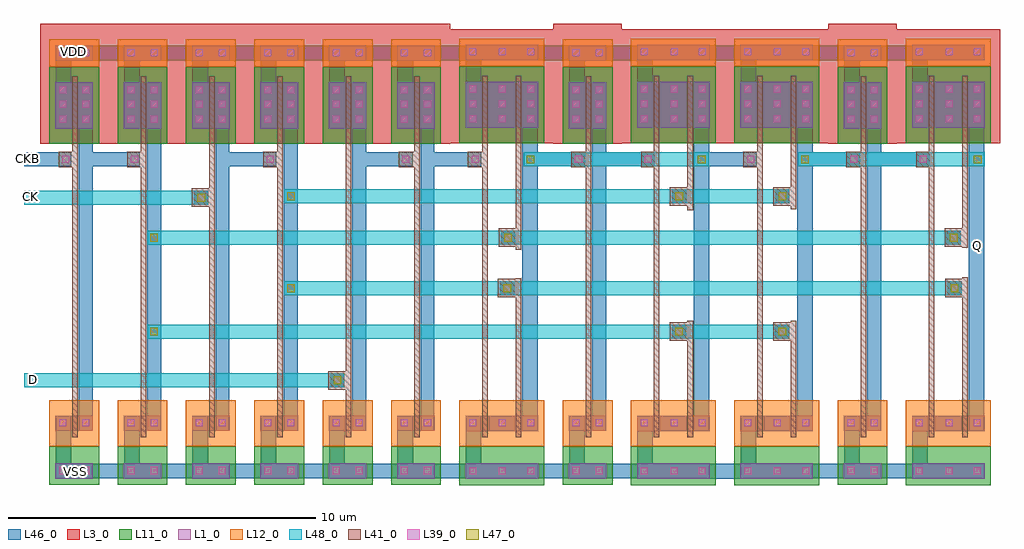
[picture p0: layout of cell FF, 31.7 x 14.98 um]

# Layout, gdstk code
import gdstk
lib = gdstk.Library(unit=1e-6, precision=1e-09)
def R(c, l, rs):  # rectangles x0, y0, x1, y1
    for r in rs: c.add(gdstk.rectangle(r[:2], r[2:], *l))
def A(c, l, x, y, w, h, nx, ny, dx, dy):  # array of equal rectangles
    R(c, l, [(x+i*dx, y+j*dy, x+i*dx+w, y+j*dy+h) for i in range(nx) for j in range(ny)])
L1_0 = (1, 0)
L3_0 = (3, 0)
L11_0 = (11, 0)
L12_0 = (12, 0)
L39_0 = (39, 0)
L41_0 = (41, 0)
L46_0 = (46, 0)
L47_0 = (47, 0)
L48_0 = (48, 0)

c_ff = lib.new_cell('FF')
A(c_ff, L1_0, 0.5, -0.98, 1.22, 0.5, 6, 2, 2.22, 1.55)
A(c_ff, L1_0, 0.5, 10.39, 1.22, 1.5, 6, 1, 2.22, 0)
A(c_ff, L1_0, 0.5, 12.59, 1.22, 0.5, 6, 1, 2.22, 0)
R(c_ff, L1_0, [(13.82,-0.99,16.175,-0.485), (19.395,-0.99,21.75,-0.485), (22.75,-0.99,25.105,-0.485), (28.325,-0.99,30.68,-0.485), (17.175,-0.98,18.395,-0.48), (26.105,-0.98,27.325,-0.48), (13.82,0.565,16.175,1.07), (19.395,0.565,21.75,1.07), (22.75,0.565,25.105,1.07), (28.325,0.565,30.68,1.07), (17.175,0.57,18.395,1.07), (26.105,0.57,27.325,1.07), (17.175,10.39,18.395,11.89), (26.105,10.39,27.325,11.89), (13.82,10.41,16.175,11.91), (19.395,10.41,21.75,11.91), (22.75,10.41,25.105,11.91), (28.325,10.41,30.68,11.91), (17.175,12.59,18.395,13.09), (26.105,12.59,27.325,13.09), (13.82,12.61,16.175,13.115), (19.395,12.61,21.75,13.115), (22.75,12.61,25.105,13.115), (28.325,12.61,30.68,13.115)])
A(c_ff, L3_0, 0, 9.89, 2.22, 3.9, 6, 1, 2.22, 0)
R(c_ff, L3_0, [(16.675,9.89,18.895,13.79), (25.605,9.89,27.825,13.79), (13.32,9.91,16.675,13.615), (18.895,9.91,22.25,13.615), (22.25,9.91,25.605,13.615), (27.825,9.91,31.18,13.615)])
A(c_ff, L11_0, 0.3, -1.18, 1.62, 1.25, 6, 1, 2.22, 0)
A(c_ff, L11_0, 0.3, 9.89, 1.62, 2.5, 6, 1, 2.22, 0)
R(c_ff, L11_0, [(13.62,-1.19,16.375,0.065), (19.195,-1.19,21.95,0.065), (22.55,-1.19,25.305,0.065), (28.125,-1.19,30.88,0.065), (16.975,-1.18,18.595,0.07), (25.905,-1.18,27.525,0.07), (16.975,9.89,18.595,12.39), (25.905,9.89,27.525,12.39), (13.62,9.91,16.375,12.41), (19.195,9.91,21.95,12.41), (22.55,9.91,25.305,12.41), (28.125,9.91,30.88,12.41)])
A(c_ff, L12_0, 0.3, 0.07, 1.62, 1.5, 6, 1, 2.22, 0)
A(c_ff, L12_0, 0.3, 12.39, 1.62, 0.9, 6, 1, 2.22, 0)
R(c_ff, L12_0, [(13.62,0.065,16.375,1.57), (19.195,0.065,21.95,1.57), (22.55,0.065,25.305,1.57), (28.125,0.065,30.88,1.57), (16.975,0.07,18.595,1.57), (25.905,0.07,27.525,1.57), (16.975,12.39,18.595,13.29), (25.905,12.39,27.525,13.29), (13.62,12.41,16.375,13.315), (19.195,12.41,21.95,13.315), (22.55,12.41,25.305,13.315), (28.125,12.41,30.88,13.315)])
A(c_ff, L39_0, 0.62, 10.58, 0.23, 0.23, 1, 3, 0, 0.48)
A(c_ff, L39_0, 1.37, 10.58, 0.23, 0.23, 1, 3, 0, 0.48)
A(c_ff, L39_0, 2.84, 10.58, 0.23, 0.23, 1, 3, 0, 0.48)
A(c_ff, L39_0, 3.59, 10.58, 0.23, 0.23, 1, 3, 0, 0.48)
A(c_ff, L39_0, 5.06, 10.58, 0.23, 0.23, 1, 3, 0, 0.48)
A(c_ff, L39_0, 5.81, 10.58, 0.23, 0.23, 1, 3, 0, 0.48)
A(c_ff, L39_0, 7.28, 10.58, 0.23, 0.23, 1, 3, 0, 0.48)
A(c_ff, L39_0, 8.03, 10.58, 0.23, 0.23, 1, 3, 0, 0.48)
A(c_ff, L39_0, 9.5, 10.58, 0.23, 0.23, 1, 3, 0, 0.48)
A(c_ff, L39_0, 10.25, 10.58, 0.23, 0.23, 1, 3, 0, 0.48)
A(c_ff, L39_0, 11.72, 10.58, 0.23, 0.23, 1, 3, 0, 0.48)
A(c_ff, L39_0, 12.47, 10.58, 0.23, 0.23, 1, 3, 0, 0.48)
A(c_ff, L39_0, 17.295, 10.58, 0.23, 0.23, 1, 3, 0, 0.48)
A(c_ff, L39_0, 18.045, 10.58, 0.23, 0.23, 1, 3, 0, 0.48)
A(c_ff, L39_0, 26.225, 10.58, 0.23, 0.23, 1, 3, 0, 0.48)
A(c_ff, L39_0, 26.975, 10.58, 0.23, 0.23, 1, 3, 0, 0.48)
A(c_ff, L39_0, 13.94, 10.6, 0.23, 0.23, 1, 3, 0, 0.48)
A(c_ff, L39_0, 14.905, 10.6, 0.23, 0.23, 1, 3, 0, 0.48)
A(c_ff, L39_0, 15.825, 10.6, 0.23, 0.23, 1, 3, 0, 0.48)
A(c_ff, L39_0, 19.515, 10.6, 0.23, 0.23, 1, 3, 0, 0.48)
A(c_ff, L39_0, 20.48, 10.6, 0.23, 0.23, 1, 3, 0, 0.48)
A(c_ff, L39_0, 21.4, 10.6, 0.23, 0.23, 1, 3, 0, 0.48)
A(c_ff, L39_0, 22.87, 10.6, 0.23, 0.23, 1, 3, 0, 0.48)
A(c_ff, L39_0, 23.835, 10.6, 0.23, 0.23, 1, 3, 0, 0.48)
A(c_ff, L39_0, 24.755, 10.6, 0.23, 0.23, 1, 3, 0, 0.48)
A(c_ff, L39_0, 28.445, 10.6, 0.23, 0.23, 1, 3, 0, 0.48)
A(c_ff, L39_0, 29.41, 10.6, 0.23, 0.23, 1, 3, 0, 0.48)
A(c_ff, L39_0, 30.33, 10.6, 0.23, 0.23, 1, 3, 0, 0.48)
R(c_ff, L39_0, [(13.94,-0.835,14.17,-0.605), (14.905,-0.835,15.135,-0.605), (15.825,-0.835,16.055,-0.605), (19.515,-0.835,19.745,-0.605), (20.48,-0.835,20.71,-0.605), (21.4,-0.835,21.63,-0.605), (22.87,-0.835,23.1,-0.605), (23.835,-0.835,24.065,-0.605), (24.755,-0.835,24.985,-0.605), (28.445,-0.835,28.675,-0.605), (29.41,-0.835,29.64,-0.605), (30.33,-0.835,30.56,-0.605), (0.62,-0.83,0.85,-0.6), (1.37,-0.83,1.6,-0.6), (2.84,-0.83,3.07,-0.6), (3.59,-0.83,3.82,-0.6), (5.06,-0.83,5.29,-0.6), (5.81,-0.83,6.04,-0.6), (7.28,-0.83,7.51,-0.6), (8.03,-0.83,8.26,-0.6), (9.5,-0.83,9.73,-0.6), (10.25,-0.83,10.48,-0.6), (11.72,-0.83,11.95,-0.6), (12.47,-0.83,12.7,-0.6), (17.295,-0.83,17.525,-0.6), (18.045,-0.83,18.275,-0.6), (26.225,-0.83,26.455,-0.6), (26.975,-0.83,27.205,-0.6), (0.62,0.72,0.85,0.95), (1.37,0.72,1.6,0.95), (2.84,0.72,3.07,0.95), (3.59,0.72,3.82,0.95), (5.06,0.72,5.29,0.95), (5.81,0.72,6.04,0.95), (7.28,0.72,7.51,0.95), (8.03,0.72,8.26,0.95), (9.5,0.72,9.73,0.95), (10.25,0.72,10.48,0.95), (11.72,0.72,11.95,0.95), (12.47,0.72,12.7,0.95), (13.94,0.72,14.17,0.95), (14.905,0.72,15.135,0.95), (15.825,0.72,16.055,0.95), (17.295,0.72,17.525,0.95), (18.045,0.72,18.275,0.95), (19.515,0.72,19.745,0.95), (20.48,0.72,20.71,0.95), (21.4,0.72,21.63,0.95), (22.87,0.72,23.1,0.95), (23.835,0.72,24.065,0.95), (24.755,0.72,24.985,0.95), (26.225,0.72,26.455,0.95), (26.975,0.72,27.205,0.95), (28.445,0.72,28.675,0.95), (29.41,0.72,29.64,0.95), (30.33,0.72,30.56,0.95), (9.545,2.1,9.775,2.33), (20.64,3.68,20.87,3.91), (23.995,3.68,24.225,3.91), (15.06,5.09,15.29,5.32), (29.59,5.09,29.82,5.32), (15.085,6.73,15.315,6.96), (29.565,6.73,29.795,6.96), (5.12,8.03,5.35,8.26), (20.645,8.075,20.875,8.305), (24,8.075,24.23,8.305), (0.725,9.28,0.955,9.51), (2.955,9.28,3.185,9.51), (7.365,9.28,7.595,9.51), (11.77,9.28,12,9.51), (14.02,9.28,14.25,9.51), (17.375,9.28,17.605,9.51), (19.64,9.28,19.87,9.51), (22.965,9.28,23.195,9.51), (26.31,9.28,26.54,9.51), (28.575,9.28,28.805,9.51), (0.62,12.74,0.85,12.97), (1.37,12.74,1.6,12.97), (2.84,12.74,3.07,12.97), (3.59,12.74,3.82,12.97), (5.06,12.74,5.29,12.97), (5.81,12.74,6.04,12.97), (7.28,12.74,7.51,12.97), (8.03,12.74,8.26,12.97), (9.5,12.74,9.73,12.97), (10.25,12.74,10.48,12.97), (11.72,12.74,11.95,12.97), (12.47,12.74,12.7,12.97), (17.295,12.74,17.525,12.97), (18.045,12.74,18.275,12.97), (26.225,12.74,26.455,12.97), (26.975,12.74,27.205,12.97), (13.94,12.765,14.17,12.995), (14.905,12.765,15.135,12.995), (15.825,12.765,16.055,12.995), (19.515,12.765,19.745,12.995), (20.48,12.765,20.71,12.995), (21.4,12.765,21.63,12.995), (22.87,12.765,23.1,12.995), (23.835,12.765,24.065,12.995), (24.755,12.765,24.985,12.995), (28.445,12.765,28.675,12.995), (29.41,12.765,29.64,12.995), (30.33,12.765,30.56,12.995)])
A(c_ff, L41_0, 1.05, 0.37, 0.18, 0.9, 6, 1, 2.22, 0)
A(c_ff, L41_0, 1.05, 10.19, 0.18, 1.9, 6, 1, 2.22, 0)
R(c_ff, L41_0, [(14.36,0.365,14.54,1.27), (15.455,0.365,15.635,1.27), (19.935,0.365,20.115,1.27), (21.03,0.365,21.21,1.27), (23.29,0.365,23.47,1.27), (24.385,0.365,24.565,1.27), (28.865,0.365,29.045,1.27), (29.96,0.365,30.14,1.27), (17.725,0.37,17.905,1.27), (26.655,0.37,26.835,1.27), (9.36,1.915,9.96,2.515), (20.455,3.495,21.055,4.095), (23.81,3.495,24.41,4.095), (14.875,4.905,15.475,5.505), (29.405,4.905,30.005,5.505), (14.9,6.545,15.5,7.145), (29.38,6.545,29.98,7.145), (4.935,7.845,5.535,8.445), (20.46,7.89,21.06,8.49), (23.815,7.89,24.415,8.49), (0.605,9.135,1.095,9.64), (2.835,9.135,3.325,9.64), (7.245,9.135,7.735,9.64), (11.65,9.135,12.205,9.64), (13.9,9.135,14.39,9.64), (17.255,9.135,17.745,9.64), (19.52,9.135,20.01,9.64), (22.845,9.135,23.335,9.64), (26.19,9.135,26.68,9.64), (28.455,9.135,28.945,9.64), (17.725,10.19,17.905,12.09), (26.655,10.19,26.835,12.09), (14.36,10.21,14.54,12.11), (15.455,10.21,15.635,12.11), (19.935,10.21,20.115,12.11), (21.03,10.21,21.21,12.11), (23.29,10.21,23.47,12.11), (24.385,10.21,24.565,12.11), (28.865,10.21,29.045,12.11), (29.96,10.21,30.14,12.11)])
A(c_ff, L46_0, 0.51, -0.97, 1.2, 0.48, 6, 2, 2.22, 13.57)
A(c_ff, L46_0, 0.51, 0.58, 0.51, 0.48, 6, 1, 2.22, 0)
A(c_ff, L46_0, 1.26, 0.58, 0.45, 0.48, 6, 1, 2.22, 0)
A(c_ff, L46_0, 0.51, 10.4, 0.51, 1.48, 6, 1, 2.22, 0)
A(c_ff, L46_0, 1.26, 10.4, 0.45, 1.48, 6, 1, 2.22, 0)
R(c_ff, L46_0, [(13.83,-0.98,16.165,-0.495), (19.405,-0.98,21.74,-0.495), (22.76,-0.98,25.095,-0.495), (28.335,-0.98,30.67,-0.495), (17.185,-0.97,18.385,-0.49), (26.115,-0.97,27.315,-0.49), (13.83,0.575,14.33,1.06), (14.57,0.575,15.425,1.06), (15.665,0.575,16.165,1.06), (19.405,0.575,19.905,1.06), (20.145,0.575,21,1.06), (21.24,0.575,21.74,1.06), (22.76,0.575,23.26,1.06), (23.5,0.575,24.355,1.06), (24.595,0.575,25.095,1.06), (28.335,0.575,28.835,1.06), (29.075,0.575,29.93,1.06), (30.17,0.575,30.67,1.06), (17.185,0.58,17.695,1.06), (17.935,0.58,18.385,1.06), (26.115,0.58,26.625,1.06), (26.865,0.58,27.315,1.06), (9.435,1.99,9.885,2.44), (20.53,3.57,20.98,4.02), (23.885,3.57,24.335,4.02), (14.95,4.98,15.4,5.43), (29.48,4.98,29.93,5.43), (14.975,6.62,15.425,7.07), (29.455,6.62,29.905,7.07), (5.01,7.92,5.46,8.37), (20.535,7.965,20.985,8.415), (23.89,7.965,24.34,8.415), (17.185,10.4,17.695,11.88), (17.935,10.4,18.385,11.88), (26.115,10.4,26.625,11.88), (26.865,10.4,27.315,11.88), (13.83,10.42,14.33,11.9), (14.57,10.42,15.425,11.9), (15.665,10.42,16.165,11.9), (19.405,10.42,19.905,11.9), (20.145,10.42,21,11.9), (21.24,10.42,21.74,11.9), (22.76,10.42,23.26,11.9), (23.5,10.42,24.355,11.9), (24.595,10.42,25.095,11.9), (28.335,10.42,28.835,11.9), (29.075,10.42,29.93,11.9), (30.17,10.42,30.67,11.9), (17.185,12.6,18.385,13.08), (26.115,12.6,27.315,13.08), (13.83,12.62,16.165,13.105), (19.405,12.62,21.74,13.105), (22.76,12.62,25.095,13.105), (28.335,12.62,30.67,13.105)])
R(c_ff, L47_0, [(9.535,2.09,9.785,2.34), (3.58,3.67,3.83,3.92), (20.63,3.67,20.88,3.92), (23.985,3.67,24.235,3.92), (8.03,5.08,8.28,5.33), (15.05,5.08,15.3,5.33), (29.58,5.08,29.83,5.33), (3.58,6.72,3.83,6.97), (15.075,6.72,15.325,6.97), (29.555,6.72,29.805,6.97), (5.11,8.02,5.36,8.27), (8.03,8.065,8.28,8.315), (20.635,8.065,20.885,8.315), (23.99,8.065,24.24,8.315), (15.81,9.265,16.06,9.515), (21.365,9.265,21.615,9.515), (24.725,9.265,24.975,9.515), (30.33,9.265,30.58,9.515)])
R(c_ff, L48_0, [(-0.52,1.99,9.885,2.44), (3.48,3.57,24.335,4.02), (7.93,4.98,29.93,5.43), (3.48,6.62,29.905,7.07), (-0.52,7.92,5.46,8.37), (7.93,7.965,24.34,8.415), (15.71,9.165,21.715,9.615), (24.625,9.165,30.68,9.615)])
c_ff.add(gdstk.FlexPath([(1.14,1.195),(1.14,8.63)], 0.18, ends="flush", simple_path=True, layer=41, datatype=0))  # L41_0
c_ff.add(gdstk.FlexPath([(3.36,1.165),(3.36,8.63)], 0.18, ends="flush", simple_path=True, layer=41, datatype=0))  # L41_0
c_ff.add(gdstk.FlexPath([(5.58,1.22),(5.58,8.63)], 0.18, ends="flush", simple_path=True, layer=41, datatype=0))  # L41_0
c_ff.add(gdstk.FlexPath([(7.8,1.075),(7.8,8.63)], 0.18, ends="flush", simple_path=True, layer=41, datatype=0))  # L41_0
c_ff.add(gdstk.FlexPath([(10.02,1.175),(10.02,8.63)], 0.18, ends="flush", simple_path=True, layer=41, datatype=0))  # L41_0
c_ff.add(gdstk.FlexPath([(12.24,1.165),(12.24,8.63)], 0.18, ends="flush", simple_path=True, layer=41, datatype=0))  # L41_0
c_ff.add(gdstk.FlexPath([(14.45,1.215),(14.45,10.21)], 0.18, ends="flush", simple_path=True, layer=41, datatype=0))  # L41_0
c_ff.add(gdstk.FlexPath([(17.815,1.165),(17.815,8.63)], 0.18, ends="flush", simple_path=True, layer=41, datatype=0))  # L41_0
c_ff.add(gdstk.FlexPath([(20.025,1.215),(20.025,10.21)], 0.18, ends="flush", simple_path=True, layer=41, datatype=0))  # L41_0
c_ff.add(gdstk.FlexPath([(23.38,1.215),(23.38,10.21)], 0.18, ends="flush", simple_path=True, layer=41, datatype=0))  # L41_0
c_ff.add(gdstk.FlexPath([(26.745,1.165),(26.745,8.63)], 0.18, ends="flush", simple_path=True, layer=41, datatype=0))  # L41_0
c_ff.add(gdstk.FlexPath([(28.955,1.215),(28.955,10.21)], 0.18, ends="flush", simple_path=True, layer=41, datatype=0))  # L41_0
c_ff.add(gdstk.FlexPath([(15.545,1.27),(15.545,5.535)], 0.18, ends="flush", simple_path=True, layer=41, datatype=0))  # L41_0
c_ff.add(gdstk.FlexPath([(24.475,1.27),(24.475,4.15)], 0.18, ends="flush", simple_path=True, layer=41, datatype=0))  # L41_0
c_ff.add(gdstk.FlexPath([(21.12,1.27),(21.12,4.15)], 0.18, ends="flush", simple_path=True, layer=41, datatype=0))  # L41_0
c_ff.add(gdstk.FlexPath([(30.05,1.27),(30.05,5.555)], 0.18, ends="flush", simple_path=True, layer=41, datatype=0))  # L41_0
c_ff.add(gdstk.FlexPath([(12.24,8.63),(12.24,10.19)], 0.18, ends="flush", simple_path=True, layer=41, datatype=0))  # L41_0
c_ff.add(gdstk.FlexPath([(10.02,8.63),(10.02,10.19)], 0.18, ends="flush", simple_path=True, layer=41, datatype=0))  # L41_0
c_ff.add(gdstk.FlexPath([(7.8,8.63),(7.8,10.19)], 0.18, ends="flush", simple_path=True, layer=41, datatype=0))  # L41_0
c_ff.add(gdstk.FlexPath([(5.58,8.63),(5.58,10.19)], 0.18, ends="flush", simple_path=True, layer=41, datatype=0))  # L41_0
c_ff.add(gdstk.FlexPath([(3.36,8.63),(3.36,10.19)], 0.18, ends="flush", simple_path=True, layer=41, datatype=0))  # L41_0
c_ff.add(gdstk.FlexPath([(1.14,8.63),(1.14,10.19)], 0.18, ends="flush", simple_path=True, layer=41, datatype=0))  # L41_0
c_ff.add(gdstk.FlexPath([(17.815,8.63),(17.815,10.19)], 0.18, ends="flush", simple_path=True, layer=41, datatype=0))  # L41_0
c_ff.add(gdstk.FlexPath([(26.745,8.63),(26.745,10.19)], 0.18, ends="flush", simple_path=True, layer=41, datatype=0))  # L41_0
c_ff.add(gdstk.FlexPath([(21.12,7.735),(21.12,10.21)], 0.18, ends="flush", simple_path=True, layer=41, datatype=0))  # L41_0
c_ff.add(gdstk.FlexPath([(24.475,7.77),(24.475,10.21)], 0.18, ends="flush", simple_path=True, layer=41, datatype=0))  # L41_0
c_ff.add(gdstk.FlexPath([(15.545,6.45),(15.545,10.21)], 0.18, ends="flush", simple_path=True, layer=41, datatype=0))  # L41_0
c_ff.add(gdstk.FlexPath([(30.05,6.52),(30.05,10.21)], 0.18, ends="flush", simple_path=True, layer=41, datatype=0))  # L41_0
c_ff.add(gdstk.FlexPath([(11.865,-0.535),(11.865,0.58)], 0.51, ends="flush", simple_path=True, layer=46, datatype=0))  # L46_0
c_ff.add(gdstk.FlexPath([(9.645,-0.535),(9.645,0.58)], 0.51, ends="flush", simple_path=True, layer=46, datatype=0))  # L46_0
c_ff.add(gdstk.FlexPath([(7.425,-0.535),(7.425,0.58)], 0.51, ends="flush", simple_path=True, layer=46, datatype=0))  # L46_0
c_ff.add(gdstk.FlexPath([(5.205,-0.535),(5.205,0.58)], 0.51, ends="flush", simple_path=True, layer=46, datatype=0))  # L46_0
c_ff.add(gdstk.FlexPath([(2.985,-0.535),(2.985,0.58)], 0.51, ends="flush", simple_path=True, layer=46, datatype=0))  # L46_0
c_ff.add(gdstk.FlexPath([(0.765,-0.535),(0.765,0.58)], 0.51, ends="flush", simple_path=True, layer=46, datatype=0))  # L46_0
c_ff.add(gdstk.FlexPath([(10.535,-0.73),(11.61,-0.73)], 0.48, ends="flush", simple_path=True, layer=46, datatype=0))  # L46_0
c_ff.add(gdstk.FlexPath([(8.315,-0.73),(9.39,-0.73)], 0.48, ends="flush", simple_path=True, layer=46, datatype=0))  # L46_0
c_ff.add(gdstk.FlexPath([(6.1,-0.73),(7.17,-0.73)], 0.48, ends="flush", simple_path=True, layer=46, datatype=0))  # L46_0
c_ff.add(gdstk.FlexPath([(3.855,-0.73),(4.95,-0.73)], 0.48, ends="flush", simple_path=True, layer=46, datatype=0))  # L46_0
c_ff.add(gdstk.FlexPath([(1.675,-0.73),(2.73,-0.73)], 0.48, ends="flush", simple_path=True, layer=46, datatype=0))  # L46_0
c_ff.add(gdstk.FlexPath([(1.485,0.985),(1.485,8.535)], 0.45, ends="flush", simple_path=True, layer=46, datatype=0))  # L46_0
c_ff.add(gdstk.FlexPath([(3.705,0.975),(3.705,8.535)], 0.45, ends="flush", simple_path=True, layer=46, datatype=0))  # L46_0
c_ff.add(gdstk.FlexPath([(5.925,0.935),(5.925,8.535)], 0.45, ends="flush", simple_path=True, layer=46, datatype=0))  # L46_0
c_ff.add(gdstk.FlexPath([(12.585,0.945),(12.585,8.535)], 0.45, ends="flush", simple_path=True, layer=46, datatype=0))  # L46_0
c_ff.add(gdstk.FlexPath([(10.365,1),(10.365,8.535)], 0.45, ends="flush", simple_path=True, layer=46, datatype=0))  # L46_0
c_ff.add(gdstk.FlexPath([(15.915,1.01),(15.915,10.42)], 0.5, ends="flush", simple_path=True, layer=46, datatype=0))  # L46_0
c_ff.add(gdstk.FlexPath([(14.08,-0.535),(14.08,0.575)], 0.5, ends="flush", simple_path=True, layer=46, datatype=0))  # L46_0
c_ff.add(gdstk.FlexPath([(17.44,-0.535),(17.44,0.58)], 0.51, ends="flush", simple_path=True, layer=46, datatype=0))  # L46_0
c_ff.add(gdstk.FlexPath([(18.16,0.945),(18.16,8.535)], 0.45, ends="flush", simple_path=True, layer=46, datatype=0))  # L46_0
c_ff.add(gdstk.FlexPath([(21.49,1.01),(21.49,10.42)], 0.5, ends="flush", simple_path=True, layer=46, datatype=0))  # L46_0
c_ff.add(gdstk.FlexPath([(19.655,-0.535),(19.655,0.575)], 0.5, ends="flush", simple_path=True, layer=46, datatype=0))  # L46_0
c_ff.add(gdstk.FlexPath([(23.01,-0.535),(23.01,0.575)], 0.5, ends="flush", simple_path=True, layer=46, datatype=0))  # L46_0
c_ff.add(gdstk.FlexPath([(24.845,1.01),(24.845,10.42)], 0.5, ends="flush", simple_path=True, layer=46, datatype=0))  # L46_0
c_ff.add(gdstk.FlexPath([(26.37,-0.535),(26.37,0.58)], 0.51, ends="flush", simple_path=True, layer=46, datatype=0))  # L46_0
c_ff.add(gdstk.FlexPath([(27.09,0.945),(27.09,8.535)], 0.45, ends="flush", simple_path=True, layer=46, datatype=0))  # L46_0
c_ff.add(gdstk.FlexPath([(28.585,-0.535),(28.585,0.575)], 0.5, ends="flush", simple_path=True, layer=46, datatype=0))  # L46_0
c_ff.add(gdstk.FlexPath([(30.42,1.01),(30.42,10.42)], 0.5, ends="flush", simple_path=True, layer=46, datatype=0))  # L46_0
c_ff.add(gdstk.FlexPath([(27.315,-0.73),(28.4,-0.73)], 0.48, ends="flush", simple_path=True, layer=46, datatype=0))  # L46_0
c_ff.add(gdstk.FlexPath([(25.05,-0.73),(26.115,-0.73)], 0.48, ends="flush", simple_path=True, layer=46, datatype=0))  # L46_0
c_ff.add(gdstk.FlexPath([(16.11,-0.73),(17.185,-0.73)], 0.48, ends="flush", simple_path=True, layer=46, datatype=0))  # L46_0
c_ff.add(gdstk.FlexPath([(18.385,-0.73),(19.46,-0.73)], 0.48, ends="flush", simple_path=True, layer=46, datatype=0))  # L46_0
c_ff.add(gdstk.FlexPath([(12.81,-0.73),(13.895,-0.73)], 0.48, ends="flush", simple_path=True, layer=46, datatype=0))  # L46_0
c_ff.add(gdstk.FlexPath([(21.74,-0.735),(22.805,-0.735)], 0.486, ends="flush", simple_path=True, layer=46, datatype=0))  # L46_0
c_ff.add(gdstk.FlexPath([(8.145,0.945),(8.145,8.525)], 0.45, ends="flush", simple_path=True, layer=46, datatype=0))  # L46_0
c_ff.add(gdstk.FlexPath([(-0.52,9.395),(1.01,9.395)], 0.45, ends="flush", simple_path=True, layer=46, datatype=0))  # L46_0
c_ff.add(gdstk.FlexPath([(12.585,8.535),(12.585,10.43)], 0.45, ends="flush", simple_path=True, layer=46, datatype=0))  # L46_0
c_ff.add(gdstk.FlexPath([(11.865,11.88),(11.865,12.66)], 0.51, ends="flush", simple_path=True, layer=46, datatype=0))  # L46_0
c_ff.add(gdstk.FlexPath([(9.645,11.88),(9.645,12.66)], 0.51, ends="flush", simple_path=True, layer=46, datatype=0))  # L46_0
c_ff.add(gdstk.FlexPath([(10.365,8.535),(10.365,10.43)], 0.45, ends="flush", simple_path=True, layer=46, datatype=0))  # L46_0
c_ff.add(gdstk.FlexPath([(7.425,11.88),(7.425,12.66)], 0.51, ends="flush", simple_path=True, layer=46, datatype=0))  # L46_0
c_ff.add(gdstk.FlexPath([(5.925,8.535),(5.925,10.43)], 0.45, ends="flush", simple_path=True, layer=46, datatype=0))  # L46_0
c_ff.add(gdstk.FlexPath([(5.205,11.88),(5.205,12.66)], 0.51, ends="flush", simple_path=True, layer=46, datatype=0))  # L46_0
c_ff.add(gdstk.FlexPath([(2.985,11.88),(2.985,12.66)], 0.51, ends="flush", simple_path=True, layer=46, datatype=0))  # L46_0
c_ff.add(gdstk.FlexPath([(3.705,8.535),(3.705,10.43)], 0.45, ends="flush", simple_path=True, layer=46, datatype=0))  # L46_0
c_ff.add(gdstk.FlexPath([(1.485,8.535),(1.485,10.43)], 0.45, ends="flush", simple_path=True, layer=46, datatype=0))  # L46_0
c_ff.add(gdstk.FlexPath([(0.765,11.88),(0.765,12.66)], 0.51, ends="flush", simple_path=True, layer=46, datatype=0))  # L46_0
c_ff.add(gdstk.FlexPath([(10.525,9.395),(12.11,9.395)], 0.45, ends="flush", simple_path=True, layer=46, datatype=0))  # L46_0
c_ff.add(gdstk.FlexPath([(1.71,9.395),(3.24,9.395)], 0.45, ends="flush", simple_path=True, layer=46, datatype=0))  # L46_0
c_ff.add(gdstk.FlexPath([(6.12,9.395),(7.68,9.395)], 0.45, ends="flush", simple_path=True, layer=46, datatype=0))  # L46_0
c_ff.add(gdstk.FlexPath([(3.93,12.84),(5.015,12.84)], 0.48, ends="flush", simple_path=True, layer=46, datatype=0))  # L46_0
c_ff.add(gdstk.FlexPath([(6.15,12.84),(7.22,12.84)], 0.48, ends="flush", simple_path=True, layer=46, datatype=0))  # L46_0
c_ff.add(gdstk.FlexPath([(8.37,12.84),(9.435,12.84)], 0.48, ends="flush", simple_path=True, layer=46, datatype=0))  # L46_0
c_ff.add(gdstk.FlexPath([(10.59,12.84),(11.665,12.84)], 0.48, ends="flush", simple_path=True, layer=46, datatype=0))  # L46_0
c_ff.add(gdstk.FlexPath([(1.71,12.84),(2.785,12.84)], 0.48, ends="flush", simple_path=True, layer=46, datatype=0))  # L46_0
c_ff.add(gdstk.FlexPath([(14.08,11.9),(14.08,12.67)], 0.5, ends="flush", simple_path=True, layer=46, datatype=0))  # L46_0
c_ff.add(gdstk.FlexPath([(18.16,8.535),(18.16,10.43)], 0.45, ends="flush", simple_path=True, layer=46, datatype=0))  # L46_0
c_ff.add(gdstk.FlexPath([(17.44,11.88),(17.44,12.66)], 0.51, ends="flush", simple_path=True, layer=46, datatype=0))  # L46_0
c_ff.add(gdstk.FlexPath([(19.655,11.9),(19.655,12.67)], 0.5, ends="flush", simple_path=True, layer=46, datatype=0))  # L46_0
c_ff.add(gdstk.FlexPath([(23.01,11.9),(23.01,12.67)], 0.5, ends="flush", simple_path=True, layer=46, datatype=0))  # L46_0
c_ff.add(gdstk.FlexPath([(27.09,8.535),(27.09,10.43)], 0.45, ends="flush", simple_path=True, layer=46, datatype=0))  # L46_0
c_ff.add(gdstk.FlexPath([(26.37,11.88),(26.37,12.66)], 0.51, ends="flush", simple_path=True, layer=46, datatype=0))  # L46_0
c_ff.add(gdstk.FlexPath([(28.585,11.9),(28.585,12.67)], 0.5, ends="flush", simple_path=True, layer=46, datatype=0))  # L46_0
c_ff.add(gdstk.FlexPath([(12.81,12.84),(13.875,12.84)], 0.48, ends="flush", simple_path=True, layer=46, datatype=0))  # L46_0
c_ff.add(gdstk.FlexPath([(16.165,12.86),(17.245,12.86)], 0.486, ends="flush", simple_path=True, layer=46, datatype=0))  # L46_0
c_ff.add(gdstk.FlexPath([(18.385,12.84),(19.43,12.84)], 0.48, ends="flush", simple_path=True, layer=46, datatype=0))  # L46_0
c_ff.add(gdstk.FlexPath([(21.74,12.86),(22.805,12.86)], 0.486, ends="flush", simple_path=True, layer=46, datatype=0))  # L46_0
c_ff.add(gdstk.FlexPath([(25.095,12.86),(26.16,12.86)], 0.486, ends="flush", simple_path=True, layer=46, datatype=0))  # L46_0
c_ff.add(gdstk.FlexPath([(27.315,12.84),(28.4,12.84)], 0.48, ends="flush", simple_path=True, layer=46, datatype=0))  # L46_0
c_ff.add(gdstk.FlexPath([(16.13,9.395),(17.69,9.395)], 0.45, ends="flush", simple_path=True, layer=46, datatype=0))  # L46_0
c_ff.add(gdstk.FlexPath([(21.72,9.395),(23.28,9.395)], 0.45, ends="flush", simple_path=True, layer=46, datatype=0))  # L46_0
c_ff.add(gdstk.FlexPath([(25.065,9.395),(26.625,9.395)], 0.45, ends="flush", simple_path=True, layer=46, datatype=0))  # L46_0
c_ff.add(gdstk.FlexPath([(12.775,9.395),(14.335,9.395)], 0.45, ends="flush", simple_path=True, layer=46, datatype=0))  # L46_0
c_ff.add(gdstk.FlexPath([(18.365,9.395),(19.955,9.395)], 0.45, ends="flush", simple_path=True, layer=46, datatype=0))  # L46_0
c_ff.add(gdstk.FlexPath([(27.295,9.395),(28.89,9.395)], 0.45, ends="flush", simple_path=True, layer=46, datatype=0))  # L46_0
c_ff.add(gdstk.FlexPath([(8.145,8.49),(8.145,10.43)], 0.45, ends="flush", simple_path=True, layer=46, datatype=0))  # L46_0
c_ff.add(gdstk.Label('VSS', (1.15,-0.74), layer=101, texttype=0))
c_ff.add(gdstk.Label('CKB', (-0.405,9.42), layer=101, texttype=0))
c_ff.add(gdstk.Label('VDD', (1.08,12.905), layer=101, texttype=0))
c_ff.add(gdstk.Label('Q', (30.465,6.585), layer=101, texttype=0))
c_ff.add(gdstk.Label('D', (-0.205,2.245), layer=102, texttype=0))
c_ff.add(gdstk.Label('CK', (-0.32,8.195), layer=102, texttype=0))

lib.write_gds('FF.gds')
